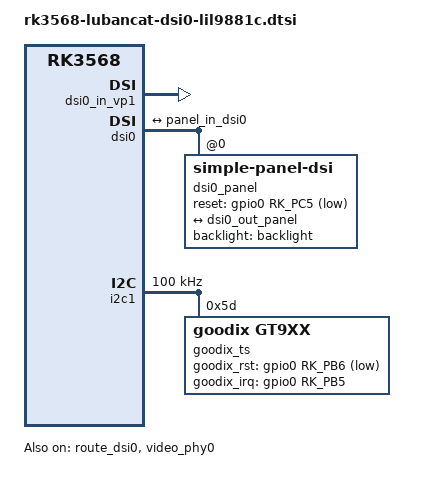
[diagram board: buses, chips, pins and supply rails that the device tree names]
// SPDX-License-Identifier: (GPL-2.0+ OR MIT)
/*
 * Copyright (c) 2020 Rockchip Electronics Co., Ltd.
 *
 */

&route_dsi0 {
	status = "okay";
	connect = <&vp1_out_dsi0>;
};

&video_phy0 {
	status = "okay";
};

&dsi0_in_vp0 {
	status = "disabled";
};

&dsi0_in_vp1 {
	status = "okay";
};

&dsi0 {
	status = "okay";

	dsi0_panel: panel@0 {
		status = "okay";
		compatible = "simple-panel-dsi";
		reg = <0>;
		backlight = <&backlight>;
		reset-gpios = <&gpio0 RK_PC5 GPIO_ACTIVE_LOW>;

		enable-delay-ms = <50>;
		prepare-delay-ms = <200>;
		reset-delay-ms = <50>;
		init-delay-ms = <55>;
		unprepare-delay-ms = <50>;
		disable-delay-ms = <20>;

		size,width = <120>;
		size,height = <170>;

		dsi,flags = <(MIPI_DSI_MODE_VIDEO | MIPI_DSI_MODE_VIDEO_BURST | MIPI_DSI_MODE_LPM | MIPI_DSI_MODE_EOT_PACKET)>;
		dsi,format = <MIPI_DSI_FMT_RGB888>;
		dsi,lanes  = <4>;
        rotation = <90>;

		panel-init-sequence = [
            //39 00 04 B9 83 10 2E
            //15 00 02 CF FF
	        //99 00 02 04 83
            //15 00 02 35 00
            //05 78 01 11
            //05 32 01 29

            39 00 04 FF 98 81 03
            15 00 02 01 00
            15 00 02 02 00
            15 00 02 03 73
            15 00 02 04 00
            15 00 02 05 00
            15 00 02 06 08
            15 00 02 07 00
            15 00 02 08 00
            15 00 02 09 00
            15 00 02 0A 01
            15 00 02 0B 01
            15 00 02 0C 00
            15 00 02 0D 01
            15 00 02 0E 01
            15 00 02 0F 00
            15 00 02 10 00
            15 00 02 11 00
            15 00 02 12 00
            15 00 02 13 1F
            15 00 02 14 1F
            15 00 02 15 00
            15 00 02 16 00
            15 00 02 17 00
            15 00 02 18 00
            15 00 02 19 00
            15 00 02 1A 00
            15 00 02 1B 00 
            15 00 02 1C 00
            15 00 02 1D 00
            15 00 02 1E 40 
            15 00 02 1F C0
            15 00 02 20 16
            15 00 02 21 01 
            15 00 02 22 06
            15 00 02 23 01
            15 00 02 24 88
            15 00 02 25 88
            15 00 02 26 00
            15 00 02 27 00
            15 00 02 28 3B
            15 00 02 29 03
            15 00 02 2A 00
            15 00 02 2B 00
            15 00 02 2C 00
            15 00 02 2D 00
            15 00 02 2E 00
            15 00 02 2F 00
            15 00 02 30 00
            15 00 02 31 00
            15 00 02 32 00
            15 00 02 33 00
            15 00 02 34 00
            15 00 02 35 00
            15 00 02 36 00
            15 00 02 37 00
            15 00 02 38 00
            15 00 02 39 00
            15 00 02 3A 00
            15 00 02 3B 00
            15 00 02 3D 00
            15 00 02 3E 00
            15 00 02 3F 00
            15 00 02 40 00
            15 00 02 41 00
            15 00 02 42 00
            15 00 02 43 00
            15 00 02 44 00
            //GIP_2
            15 00 02 50 01           
            15 00 02 51 23           
            15 00 02 52 45           
            15 00 02 53 67           
            15 00 02 54 89           
            15 00 02 55 AB           
            15 00 02 56 01           
            15 00 02 57 23           
            15 00 02 58 45           
            15 00 02 59 67           
            15 00 02 5A 89           
            15 00 02 5B AB           
            15 00 02 5C CD           
            15 00 02 5D EF  
            //GIP_3  
            15 00 02 5E 00           
            15 00 02 5F 01           
            15 00 02 60 01           
            15 00 02 61 06           
            15 00 02 62 06           
            15 00 02 63 07           
            15 00 02 64 07           
            15 00 02 65 00           
            15 00 02 66 00           
            15 00 02 67 02           
            15 00 02 68 02           
            15 00 02 69 05           
            15 00 02 6A 05           
            15 00 02 6B 02           
            15 00 02 6C 0D           
            15 00 02 6D 0D           
            15 00 02 6E 0C           
            15 00 02 6F 0C           
            15 00 02 70 0F           
            15 00 02 71 0F           
            15 00 02 72 0E           
            15 00 02 73 0E           
            15 00 02 74 02           
            15 00 02 75 01           
            15 00 02 76 01           
            15 00 02 77 06           
            15 00 02 78 06           
            15 00 02 79 07           
            15 00 02 7A 07           
            15 00 02 7B 00           
            15 00 02 7C 00           
            15 00 02 7D 02           
            15 00 02 7E 02           
            15 00 02 7F 05           
            15 00 02 80 05           
            15 00 02 81 02           
            15 00 02 82 0D           
            15 00 02 83 0D           
            15 00 02 84 0C           
            15 00 02 85 0C           
            15 00 02 86 0F           
            15 00 02 87 0F           
            15 00 02 88 0E           
            15 00 02 89 0E           
            15 00 02 8A 02
            //Page 4 command;   
            39 00 04 FF 98 81 04
            //REGISTER,3B,01,C0   // ILI4003D sel
            15 00 02 6C 15        //Set VCORE voltage =1.5V           
            15 00 02 6E 2A        //di_pwr_reg=0 for power mode 2A //VGH clamp 18V    
            15 00 02 6F 33        //45 //pumping ratio VGH=5x VGL=-3x                     
            15 00 02 8D 1B        //VGL clamp -10V           
            15 00 02 87 BA        //ESD  
            15 00 02 3A 24        //POWER SAVING                     
            15 00 02 26 76           
            15 00 02 B2 D1           

            // Page 1 command  
            39 00 04 FF 98 81 01
            15 00 02 22 0A 
            15 00 02 31 00 
            15 00 02 43 66 
            15 00 02 53 42 
            15 00 02 50 87 
            15 00 02 51 82 
            15 00 02 60 15 
            15 00 02 61 01 
            15 00 02 62 0C 
            15 00 02 63 00 

            // Gamma P 
            15 00 02 A0 00    
            15 00 02 A1 13        //VP251         
            15 00 02 A2 23        //VP247 
            15 00 02 A3 14        //VP243         
            15 00 02 A4 16        //VP239         
            15 00 02 A5 29        //VP231         
            15 00 02 A6 1E        //VP219         
            15 00 02 A7 1D        //VP203         
            15 00 02 A8 86        //VP175         
            15 00 02 A9 1E        //VP144         
            15 00 02 AA 29        //VP111         
            15 00 02 AB 74        //VP80          
            15 00 02 AC 19        //VP52          
            15 00 02 AD 17        //VP36          
            15 00 02 AE 4B        //VP24          
            15 00 02 AF 20        //VP16          
            15 00 02 B0 26        //VP12          
            15 00 02 B1 4C        //VP8           
            15 00 02 B2 5D        //VP4           
            15 00 02 B3 3F        //VP0    

            // Gamma N      
            15 00 02 C0 00        //VN255 GAMMA N           
            15 00 02 C1 13        //VN251         
            15 00 02 C2 23        //VN247         
            15 00 02 C3 14        //VN243         
            15 00 02 C4 16        //VN239         
            15 00 02 C5 29        //VN231         
            15 00 02 C6 1E        //VN219         
            15 00 02 C7 1D        //VN203         
            15 00 02 C8 86        //VN175         
            15 00 02 C9 1E        //VN144         
            15 00 02 CA 29        //VN111         
            15 00 02 CB 74        //VN80          
            15 00 02 CC 19        //VN52          
            15 00 02 CD 17        //VN36          
            15 00 02 CE 4B        //VN24          
            15 00 02 CF 20        //VN16          
            15 00 02 D0 26        //VN12          
            15 00 02 D1 4C        //VN8           
            15 00 02 D2 5D        //VN4           
            15 00 02 D3 3F        //VN0

            // Page 0 command  
            39 00 04 FF 98 81 00
            /*
            15 00 02 35 00        // TE On
            
            15 00 02 11 00     // Sleep Out   
            15 78 02 29 00	//display on
            */
            05 00 01 11
            05 78 01 29
		];

		panel-exit-sequence = [
            05 00 01 28
            05 00 01 10
		];

		disp_timings0: display-timings {
			native-mode = <&dsi0_timing0>;
			dsi0_timing0: timing0 {
				clock-frequency = <72600000>;
				hactive = <800>;
				vactive = <1280>;
				hsync-len = <14>;
				hback-porch = <23>;
				hfront-porch = <32>;
				vsync-len = <8>;
				vback-porch = <20>;
				vfront-porch = <80>;
				hsync-active = <0>;
				vsync-active = <0>;
				de-active = <0>;
				pixelclk-active = <0>;
			};
		};

		ports {
			#address-cells = <1>;
			#size-cells = <0>;
			port@0 {
				reg = <0>;
				panel_in_dsi0: endpoint {
					remote-endpoint = <&dsi0_out_panel>;
				};
			};
		};
	};

	ports {
		#address-cells = <1>;
		#size-cells = <0>;

		port@1 {
			reg = <1>;
			dsi0_out_panel: endpoint {
				remote-endpoint = <&panel_in_dsi0>;
			};
		};
	};
};

&i2c1 {
	status = "okay";
	clock-frequency = <100000>;

      goodix_ts@5d {
            compatible = "goodix,gt9xx";
            reg = <0x5d>;
            gtp_resolution_x = <800>;
            gtp_resolution_y = <1280>;
            gtp_int_tarigger = <1>;
            gtp_change_x2y = <1>;
            gtp_overturn_x = <0>;
            gtp_overturn_y = <0>;
            gtp_send_cfg = <1>;    
            //gtp_touch_wakeup = <1>;
            goodix_rst_gpio = <&gpio0 RK_PB6 GPIO_ACTIVE_LOW>;
            goodix_irq_gpio =  <&gpio0 RK_PB5 GPIO_ACTIVE_HIGH>;
        
            goodix,cfg-group0 = [
            65 00 05 20 03 0A 0D 00 01 0A 
            28 0F 5A 3C 03 03 00 00 00 00 
            00 00 00 00 00 00 00 8C 2E 0E 
            7A 7C B2 04 00 00 00 D8 02 10 
            19 01 00 00 00 00 00 00 00 00 
            00 64 96 94 D5 02 07 00 00 04 
            8D 68 00 86 71 00 80 7A 00 7A 
            84 00 75 90 00 75 00 00 00 00 
            00 00 00 00 00 00 00 00 00 00 
            00 00 00 00 00 00 00 00 00 00 
            00 00 00 00 00 00 00 00 00 00 
            00 00 02 04 06 08 0A 0C 0E 10 
            12 14 16 18 1A 1C FF FF FF FF 
            FF FF FF FF FF FF FF FF FF FF 
            FF FF 2A 29 28 26 24 22 21 20 
            1F 1E 1D 1C 18 16 14 13 12 10 
            0F 0C 0A 08 06 04 02 00 FF FF 
            FF FF FF FF FF FF FF FF FF FF 
            FF FF FF FF 38 01
            ];
        };
};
